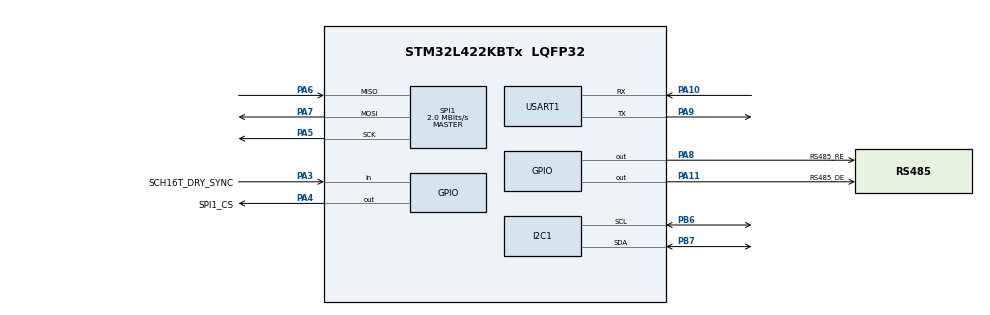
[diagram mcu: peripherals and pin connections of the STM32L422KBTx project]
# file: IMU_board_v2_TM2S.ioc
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I2C1.Timing=0x00100D14
Mcu.Family=STM32L4
Mcu.Name=STM32L422KBTx
Mcu.Package=LQFP32
NVIC.PriorityGroup=NVIC_PRIORITYGROUP_4
PA0-CK_IN.Signal=RCC_CK_IN
PA10.Mode=Asynchronous
PA10.Signal=USART1_RX
PA11.GPIO_Label=RS485_DE
PA11.Signal=GPIO_Output
PA13\ (JTMS/SWDIO).Mode=Serial_Wire
PA13\ (JTMS/SWDIO).Signal=SYS_JTMS-SWDIO
PA14\ (JTCK/SWCLK).Mode=Serial_Wire
PA14\ (JTCK/SWCLK).Signal=SYS_JTCK-SWCLK
PA3.GPIO_Label=SCH16T_DRY_SYNC
PA3.Signal=GPIO_Input
PA4.GPIO_Label=SPI1_CS
PA4.Signal=GPIO_Output
PA5.Mode=Full_Duplex_Master
PA5.Signal=SPI1_SCK
PA6.Mode=Full_Duplex_Master
PA6.Signal=SPI1_MISO
PA7.Mode=Full_Duplex_Master
PA7.Signal=SPI1_MOSI
PA8.GPIO_Label=RS485_RE
PA8.Signal=GPIO_Output
PA9.Mode=Asynchronous
PA9.Signal=USART1_TX
PB6.Mode=I2C
PB6.Signal=I2C1_SCL
PB7.Mode=I2C
PB7.Signal=I2C1_SDA
ProjectManager.HeapSize=0x200
ProjectManager.StackSize=0x400
ProjectManager.TargetToolchain=STM32CubeIDE
RCC.ADCFreq_Value=4000000
RCC.HSE_VALUE=8000000
RCC.HSI48_VALUE=48000000
RCC.HSI_VALUE=16000000
RCC.LSE_VALUE=32768
RCC.MSI_VALUE=4000000
RCC.USBFreq_Value=4000000
RCC.VCOOutputFreq_Value=32000000
SPI1.CLKPolarity=SPI_POLARITY_LOW
SPI1.CalculateBaudRate=2.0 MBits/s
SPI1.DataSize=SPI_DATASIZE_16BIT
SPI1.Direction=SPI_DIRECTION_2LINES
SPI1.Mode=SPI_MODE_MASTER
SPI1.VirtualType=VM_MASTER
USART1.SwapParam=ADVFEATURE_SWAP_ENABLE
USART1.VirtualMode-Asynchronous=VM_ASYNC
board=custom

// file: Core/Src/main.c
/* USER CODE BEGIN Header */
/**
  ******************************************************************************
  * @file           : main.c
  * @brief          : Main program body
  ******************************************************************************
  * @attention
  *
  * Copyright (c) 2026 STMicroelectronics.
  * All rights reserved.
  *
  * This software is licensed under terms that can be found in the LICENSE file
  * in the root directory of this software component.
  * If no LICENSE file comes with this software, it is provided AS-IS.
  *
  ******************************************************************************
  */
/* USER CODE END Header */
#include "main.h"

/* USER CODE BEGIN Includes */
#include <stdio.h>
#include <string.h>
/* USER CODE END Includes */

/* USER CODE BEGIN PD */

// RS-485 Protocol Constants
#define ADCS_BUS_START_BYTE        0xAA
#define IMUCUBE_MODULE_ID          0x04
#define ADCS_BUS_BROADCAST_ID      0xFF

// Commands (receive from ADCS master)
#define CMD_PING                   0x01
#define CMD_GET_STATUS             0x02
#define CMD_GET_TELEMETRY          0x03
#define CMD_RESET                  0x04

// Responses (send to ADCS master)
#define TLM_ACK                    0x80
#define TLM_NACK                   0x81
#define TLM_IMUCUBE_ALL_SENSORS    0x90
#define TLM_IMUCUBE_STATUS         0x91

/* USER CODE END PD */

I2C_HandleTypeDef hi2c1;

SPI_HandleTypeDef hspi1;

UART_HandleTypeDef huart1;

/* USER CODE BEGIN PV */
// I2C pin check
volatile uint8_t scl_state = 0;
volatile uint8_t sda_state = 0;

// I2C scan variables
volatile uint8_t device_count = 0;
volatile uint8_t found_addr[10];
volatile HAL_StatusTypeDef result;

// RM3100 BIST variables
#define RM3100_ADDR    (0x20 << 1)  // 7-bit addr 0x20, shifted for HAL
#define RM3100_BIST    0x33         // BIST register
#define RM3100_POLL    0x00         // POLL register
#define RM3100_MX      0x24         // Measurement X (3 bytes: 0x24, 0x25, 0x26)
volatile uint8_t rm3100_bist_result = 0;
volatile uint8_t rm3100_bist_pass   = 0;  // 1 = PASS, 0 = FAIL

// RM3100 measurement data
volatile uint8_t rm3100_raw[9];            // 9 bytes: X(3) + Y(3) + Z(3)
volatile int32_t rm3100_x = 0;
volatile int32_t rm3100_y = 0;
volatile int32_t rm3100_z = 0;

// IIS2MDC variables
#define IIS2MDC_ADDR     (0x1E << 1)
#define IIS2MDC_WHO_AM_I 0x4F
#define IIS2MDC_CFG_A    0x60
#define IIS2MDC_CFG_C    0x62
#define IIS2MDC_STATUS   0x67
#define IIS2MDC_OUT_X_L  0x68
volatile uint8_t iis2mdc_who = 0;
volatile uint8_t iis2mdc_status = 0;
volatile uint8_t iis2mdc_ok = 0;
volatile uint8_t iis2mdc_raw[6];
volatile int16_t iis2mdc_x = 0;
volatile int16_t iis2mdc_y = 0;
volatile int16_t iis2mdc_z = 0;

// ICM-45686 variables
#define ICM45686_ADDR       (0x68 << 1)
#define ICM45686_WHOAMI     0x72
#define ICM45686_PWR_MGMT0  0x1F
#define ICM45686_INT_STATUS 0x2D
#define ICM45686_STATUS     0x39
#define ICM45686_ACCEL_X1   0x00
#define ICM45686_GYRO_X1    0x06
volatile uint8_t icm_who_72 = 0;     // WHO_AM_I read from 0x72
volatile uint8_t icm_who_75 = 0;     // WHO_AM_I read from 0x75
volatile uint8_t icm_ok = 0;
volatile uint8_t icm_int_status = 0;
volatile uint8_t icm_status = 0;
volatile uint8_t icm_pwr_readback = 0;
volatile uint8_t icm_accel_raw[6];
volatile uint8_t icm_gyro_raw[6];
volatile int16_t icm_ax = 0, icm_ay = 0, icm_az = 0;
volatile int16_t icm_gx = 0, icm_gy = 0, icm_gz = 0;
volatile uint8_t icm_dump[128];  // dump registers 0x00–0x7F to find data

// I3G4250D variables
#define I3G4250D_ADDR     (0x69 << 1)  // SDO = VDD
#define I3G4250D_WHO_AM_I 0x0F
#define I3G4250D_CTRL1    0x20
#define I3G4250D_STATUS   0x27
#define I3G4250D_OUT_X_L  0x28
volatile uint8_t i3g_who_0F = 0;   // WHO_AM_I at 0x0F (ST sensors)
volatile uint8_t i3g_who_72 = 0;   // WHO_AM_I at 0x72 (InvenSense)
volatile uint8_t i3g_who_75 = 0;   // WHO_AM_I at 0x75 (InvenSense)
volatile uint8_t i3g_ok = 0;
volatile uint8_t i3g_status = 0;
volatile uint8_t i3g_raw[6];
volatile int16_t i3g_x = 0, i3g_y = 0, i3g_z = 0;

// MCP9808 variables
#define MCP9808_ADDR      (0x1F << 1)
#define MCP9808_MANUF_ID  0x06    // Manufacturer ID register (expect 0x0054)
#define MCP9808_DEVICE_ID 0x07    // Device ID register (expect 0x0400)
#define MCP9808_TEMP      0x05    // Ambient temperature register
volatile uint16_t mcp_manuf_id = 0;
volatile uint16_t mcp_device_id = 0;
volatile uint8_t mcp_ok = 0;
volatile uint8_t mcp_raw[2];
volatile float mcp_temp = 0.0f;    // temperature in °C

// SCH16T SPI variables
volatile uint16_t spi_tx[2];
volatile uint16_t spi_rx[2];
volatile uint8_t  sch16t_detected = 0;
volatile HAL_StatusTypeDef spi_result;
volatile uint16_t spi_test_rx0 = 0;
volatile uint16_t spi_test_rx1 = 0;
volatile uint32_t spi_resp_cmd = 0;
volatile uint32_t spi_resp_zeros = 0;
volatile uint32_t spi_resp_ones = 0;
volatile int32_t sch_gx = 0, sch_gy = 0, sch_gz = 0;
volatile int32_t sch_ax = 0, sch_ay = 0, sch_az = 0;
volatile uint32_t sch_frame_built = 0;   // what build_frame generates
volatile uint32_t sch_raw_resp = 0;      // raw response

// RS-485 transmit buffer
char tx_buf[256];

// RS-485 mode flag: 0 = protocol mode (rx/tx), 1 = continuous TX mode
volatile uint8_t rs485_mode = 0;  // change to 1 for continuous TX

// Protocol structs (packed, no padding)
typedef struct __attribute__((packed)) {
  float rm3100_x, rm3100_y, rm3100_z;           // 12 bytes
  float iis2mdc_x, iis2mdc_y, iis2mdc_z;        // 12 bytes
  float icm_accel_x, icm_accel_y, icm_accel_z;   // 12 bytes
  float icm_gyro_x, icm_gyro_y, icm_gyro_z;      // 12 bytes
  float sch16t_accel_x, sch16t_accel_y, sch16t_accel_z; // 12 bytes
  float sch16t_gyro_x, sch16t_gyro_y, sch16t_gyro_z;   // 12 bytes
  float i3g_gyro_x, i3g_gyro_y, i3g_gyro_z;     // 12 bytes
  float mcp_temp_val;                             // 4 bytes
} IMUCube_AllSensorsPayload_t;  // 88 bytes total

_Static_assert(sizeof(IMUCube_AllSensorsPayload_t) == 88, "payload must be 88 bytes");

typedef struct __attribute__((packed)) {
  uint8_t ack_type;
  uint8_t original_cmd;
  uint8_t status_code;
  uint8_t reserved;
} AckResponse_t;  // 4 bytes

// RS-485 RX/TX buffers
uint8_t rs485_rx_buf[140];   // max frame = 134 bytes
uint8_t rs485_tx_frame[140];
volatile uint8_t rs485_rx_byte = 0;
volatile uint8_t rs485_rx_idx = 0;
volatile uint8_t rs485_cmd_ready = 0;
volatile uint8_t rs485_msg_type = 0;
volatile uint8_t rs485_payload_len = 0;
/* USER CODE END PV */

void SystemClock_Config(void);
static void MX_GPIO_Init(void);
static void MX_I2C1_Init(void);
static void MX_SPI1_Init(void);
static void MX_USART1_UART_Init(void);

/* USER CODE BEGIN 0 */

uint8_t calc_crc3(uint32_t frame)
{
  uint8_t crc = 0x05;
  for (int i = 31; i >= 3; i--)
  {
    uint8_t bit = (frame >> i) & 0x01;
    crc = (crc << 1) | bit;
    if (crc & 0x08) crc ^= 0x0B;
  }
  return crc & 0x07;
}

uint32_t sch16t_build_frame(uint16_t address, uint8_t rw, uint32_t data)
{
  uint32_t frame = 0;
  frame |= ((uint32_t)(address & 0x03FF)) << 22;
  frame |= ((uint32_t)(rw & 0x01)) << 21;
  frame |= ((data & 0x3FFFF)) << 3;
  frame |= calc_crc3(frame);
  return frame;
}

uint32_t sch16t_transfer(uint32_t frame)
{
  uint16_t tx[2], rx[2];
  tx[0] = (uint16_t)(frame >> 16);
  tx[1] = (uint16_t)(frame & 0xFFFF);

  HAL_GPIO_WritePin(SPI1_CS_GPIO_Port, SPI1_CS_Pin, GPIO_PIN_RESET);
  HAL_SPI_TransmitReceive(&hspi1, (uint8_t *)tx, (uint8_t *)rx, 2, 100);
  HAL_GPIO_WritePin(SPI1_CS_GPIO_Port, SPI1_CS_Pin, GPIO_PIN_SET);
  HAL_Delay(1);

  return ((uint32_t)rx[0] << 16) | rx[1];
}

// Send data via RS-485 (DE kept HIGH permanently)
volatile HAL_StatusTypeDef uart_result;

// CRC16-CCITT (matches ADCS master implementation exactly)
uint16_t crc16_ccitt(const uint8_t *data, uint16_t len)
{
  uint16_t crc = 0xFFFF;
  for (uint16_t i = 0; i < len; i++)
  {
    crc ^= (uint16_t)data[i] << 8;
    for (uint8_t b = 0; b < 8; b++)
    {
      if (crc & 0x8000) crc = (crc << 1) ^ 0x1021;
      else              crc <<= 1;
    }
  }
  return crc;
}

// Send raw bytes via RS-485 (low level)
void RS485_RawSend(uint8_t *data, uint16_t len)
{
  // DE HIGH, RE HIGH → transmit mode
  HAL_GPIO_WritePin(RS485_DE_GPIO_Port, RS485_DE_Pin, GPIO_PIN_SET);
  HAL_GPIO_WritePin(RS485_RE_GPIO_Port, RS485_RE_Pin, GPIO_PIN_SET);
  HAL_Delay(1);  // let transceiver settle

  // Send data
  uart_result = HAL_UART_Transmit(&huart1, data, len, 1000);

  // Wait for last byte to fully leave the shift register
  while (__HAL_UART_GET_FLAG(&huart1, UART_FLAG_TC) == RESET);
  HAL_Delay(1);

  // DE LOW, RE LOW → back to listen mode
  HAL_GPIO_WritePin(RS485_DE_GPIO_Port, RS485_DE_Pin, GPIO_PIN_RESET);
  HAL_GPIO_WritePin(RS485_RE_GPIO_Port, RS485_RE_Pin, GPIO_PIN_RESET);
}

// Send reply frame via RS-485.
// ADCS compatibility: emits a fixed 136-byte frame matching the ADCS_Packet_t
// struct layout (4 header + 128 payload region + 2 CRC at offset 132 +
// 2 reserved padding), with CRC stored little-endian. This deviates from the
// documented protocol spec but is required for the current ADCS firmware
// which receives with sizeof(ADCS_Packet_t). See IMUCube_side_implementation.md §13.
void RS485_SendFrame(uint8_t msg_type, uint8_t *payload, uint8_t payload_len)
{
  // Zero the full 136 bytes first so the payload padding region and the
  // reserved tail (bytes 134-135) don't leak stale data onto the bus.
  memset(rs485_tx_frame, 0, 136);

  // Build frame header
  rs485_tx_frame[0] = ADCS_BUS_START_BYTE;  // 0xAA
  rs485_tx_frame[1] = IMUCUBE_MODULE_ID;     // 0x04
  rs485_tx_frame[2] = msg_type;
  rs485_tx_frame[3] = payload_len;

  // Live payload goes into the fixed 128-byte payload region (offset 4..131).
  if (payload_len > 0)
    memcpy(&rs485_tx_frame[4], payload, payload_len);

  // Calculate CRC over header + live payload bytes only — the rest of the
  // 128-byte payload region is padding and is NOT covered (matches ADCS).
  uint16_t crc = crc16_ccitt(rs485_tx_frame, 4 + payload_len);

  // CRC16 at fixed offset 132, little-endian byte order (matches how ADCS
  // serializes its uint16_t crc16 struct field on little-endian ARM).
  rs485_tx_frame[132] = crc & 0xFF;          // LSB first
  rs485_tx_frame[133] = (crc >> 8) & 0xFF;   // MSB second
  // rs485_tx_frame[134..135] already zeroed by memset (reserved padding).

  // Always send the full 136-byte frame.
  RS485_RawSend(rs485_tx_frame, 136);
}

// Handle PING command → reply ACK
void Handle_Ping(void)
{
  AckResponse_t ack;
  ack.ack_type = TLM_ACK;
  ack.original_cmd = CMD_PING;
  ack.status_code = 0x00;
  ack.reserved = 0x00;

  RS485_SendFrame(TLM_ACK, (uint8_t *)&ack, sizeof(ack));
}

// Handle GET_TELEMETRY → reply with all sensor data
void Handle_GetTelemetry(void)
{
  IMUCube_AllSensorsPayload_t tlm;

  // Pack current sensor values into the struct
  tlm.rm3100_x = (float)rm3100_x;
  tlm.rm3100_y = (float)rm3100_y;
  tlm.rm3100_z = (float)rm3100_z;

  tlm.iis2mdc_x = (float)iis2mdc_x;
  tlm.iis2mdc_y = (float)iis2mdc_y;
  tlm.iis2mdc_z = (float)iis2mdc_z;

  tlm.icm_accel_x = (float)icm_ax;
  tlm.icm_accel_y = (float)icm_ay;
  tlm.icm_accel_z = (float)icm_az;
  tlm.icm_gyro_x = (float)icm_gx;
  tlm.icm_gyro_y = (float)icm_gy;
  tlm.icm_gyro_z = (float)icm_gz;

  tlm.sch16t_accel_x = (float)sch_ax;
  tlm.sch16t_accel_y = (float)sch_ay;
  tlm.sch16t_accel_z = (float)sch_az;
  tlm.sch16t_gyro_x = (float)sch_gx;
  tlm.sch16t_gyro_y = (float)sch_gy;
  tlm.sch16t_gyro_z = (float)sch_gz;

  tlm.i3g_gyro_x = (float)i3g_x;
  tlm.i3g_gyro_y = (float)i3g_y;
  tlm.i3g_gyro_z = (float)i3g_z;

  tlm.mcp_temp_val = mcp_temp;

  RS485_SendFrame(TLM_IMUCUBE_ALL_SENSORS, (uint8_t *)&tlm, sizeof(tlm));
}

// Parse received RS-485 frame and dispatch command
void RS485_ProcessFrame(void)
{
  // ADCS compatibility: fixed 136-byte wire frame. See §13 in
  // IMUCube_side_implementation.md for the rationale behind this shim.
  if (rs485_rx_idx < 136) return;

  // Extract CRC16 from fixed offset 132-133, little-endian byte order.
  // Reason: ADCS stores the CRC in a `uint16_t crc16` struct field at
  // offsetof(ADCS_Packet_t, crc16) == 132, then transmits the raw struct
  // via HAL_UART_Transmit — on little-endian ARM that serializes as
  // [LSB][MSB], NOT the big-endian order the spec calls for.
  uint16_t received_crc = (uint16_t)rs485_rx_buf[132]
                       | ((uint16_t)rs485_rx_buf[133] << 8);

  // CRC input remains just the header + live payload bytes (the rest of
  // the 128-byte payload region is padding that ADCS doesn't cover either).
  uint16_t calc_crc = crc16_ccitt(rs485_rx_buf, 4 + rs485_payload_len);

  if (received_crc != calc_crc) return;  // bad CRC, drop silently

  // Check module ID
  uint8_t mod_id = rs485_rx_buf[1];
  if (mod_id != IMUCUBE_MODULE_ID && mod_id != ADCS_BUS_BROADCAST_ID) return;

  // Dispatch command
  uint8_t cmd = rs485_rx_buf[2];
  uint8_t is_broadcast = (mod_id == ADCS_BUS_BROADCAST_ID);

  switch (cmd)
  {
    case CMD_PING:
      if (!is_broadcast) Handle_Ping();
      break;

    case CMD_GET_TELEMETRY:
      if (!is_broadcast) Handle_GetTelemetry();
      break;

    case CMD_RESET:
      if (!is_broadcast)
      {
        // Send ACK first
        AckResponse_t ack = { TLM_ACK, CMD_RESET, 0x00, 0x00 };
        RS485_SendFrame(TLM_ACK, (uint8_t *)&ack, sizeof(ack));
        HAL_Delay(10);
        NVIC_SystemReset();
      }
      break;

    default:
    {
      // Unknown command → NACK
      if (!is_broadcast)
      {
        AckResponse_t nack = { TLM_NACK, cmd, 0xFF, 0x00 };
        RS485_SendFrame(TLM_NACK, (uint8_t *)&nack, sizeof(nack));
      }
      break;
    }
  }
}

/* USER CODE END 0 */

int main(void)
{

  /* MCU Configuration--------------------------------------------------------*/

  /* Reset of all peripherals, Initializes the Flash interface and the Systick. */
  HAL_Init();

  /* Configure the system clock */
  SystemClock_Config();

  /* Initialize all configured peripherals */
  MX_GPIO_Init();
  MX_I2C1_Init();
  MX_SPI1_Init();
  MX_USART1_UART_Init();
  /* USER CODE BEGIN 2 */

  uint8_t bist_cmd;
  uint8_t poll_cmd;

  // RS-485: set initial direction based on mode
  if (rs485_mode == 1)
  {
    // Mode 1: continuous TX — DE HIGH, RE HIGH (transmit)
    HAL_GPIO_WritePin(RS485_DE_GPIO_Port, RS485_DE_Pin, GPIO_PIN_SET);
    HAL_GPIO_WritePin(RS485_RE_GPIO_Port, RS485_RE_Pin, GPIO_PIN_SET);
  }
  else
  {
    // Mode 0: protocol — DE LOW, RE LOW (receive/listen)
    HAL_GPIO_WritePin(RS485_DE_GPIO_Port, RS485_DE_Pin, GPIO_PIN_RESET);
    HAL_GPIO_WritePin(RS485_RE_GPIO_Port, RS485_RE_Pin, GPIO_PIN_RESET);
  }
  HAL_Delay(10);

  // Startup test: send 0xAA
  uint8_t startup_test = 0xAA;
  HAL_GPIO_WritePin(RS485_DE_GPIO_Port, RS485_DE_Pin, GPIO_PIN_SET);
  HAL_GPIO_WritePin(RS485_RE_GPIO_Port, RS485_RE_Pin, GPIO_PIN_SET);
  uart_result = HAL_UART_Transmit(&huart1, &startup_test, 1, 1000);
  while (__HAL_UART_GET_FLAG(&huart1, UART_FLAG_TC) == RESET);
  // Back to receive mode if protocol mode
  if (rs485_mode == 0)
  {
    HAL_GPIO_WritePin(RS485_DE_GPIO_Port, RS485_DE_Pin, GPIO_PIN_RESET);
    HAL_GPIO_WritePin(RS485_RE_GPIO_Port, RS485_RE_Pin, GPIO_PIN_RESET);
  }

  /* ---- RM3100 BIST ---- */
  bist_cmd = 0x8F;
  poll_cmd = 0x70;
  HAL_I2C_Mem_Write(&hi2c1, RM3100_ADDR, RM3100_BIST, I2C_MEMADD_SIZE_8BIT, &bist_cmd, 1, 50);
  HAL_I2C_Mem_Write(&hi2c1, RM3100_ADDR, RM3100_POLL, I2C_MEMADD_SIZE_8BIT, &poll_cmd, 1, 50);
  HAL_Delay(200);
  HAL_I2C_Mem_Read(&hi2c1, RM3100_ADDR, RM3100_BIST, I2C_MEMADD_SIZE_8BIT, (uint8_t *)&rm3100_bist_result, 1, 50);
  rm3100_bist_pass = ((rm3100_bist_result & 0x70) == 0x70) ? 1 : 0;
  bist_cmd = 0x00;
  HAL_I2C_Mem_Write(&hi2c1, RM3100_ADDR, RM3100_BIST, I2C_MEMADD_SIZE_8BIT, &bist_cmd, 1, 50);
  HAL_Delay(10);

  /* ---- IIS2MDC init ---- */
  HAL_I2C_Mem_Read(&hi2c1, IIS2MDC_ADDR, IIS2MDC_WHO_AM_I, I2C_MEMADD_SIZE_8BIT, (uint8_t *)&iis2mdc_who, 1, 50);
  if (iis2mdc_who == 0x40)
  {
    iis2mdc_ok = 1;
    uint8_t cfg_c = 0x10;
    HAL_I2C_Mem_Write(&hi2c1, IIS2MDC_ADDR, IIS2MDC_CFG_C, I2C_MEMADD_SIZE_8BIT, &cfg_c, 1, 50);
  }

  /* ---- ICM-45686 init ---- */
  HAL_I2C_Mem_Read(&hi2c1, ICM45686_ADDR, 0x72, I2C_MEMADD_SIZE_8BIT, (uint8_t *)&icm_who_72, 1, 50);
  if (icm_who_72 == 0xE9 || icm_who_72 == 0xE5)
  {
    icm_ok = 1;
    uint8_t accel_cfg = 0x09;
    HAL_I2C_Mem_Write(&hi2c1, ICM45686_ADDR, 0x1B, I2C_MEMADD_SIZE_8BIT, &accel_cfg, 1, 50);
    uint8_t gyro_cfg = 0x09;
    HAL_I2C_Mem_Write(&hi2c1, ICM45686_ADDR, 0x1C, I2C_MEMADD_SIZE_8BIT, &gyro_cfg, 1, 50);
    uint8_t pwr = 0x0F;
    HAL_I2C_Mem_Write(&hi2c1, ICM45686_ADDR, 0x10, I2C_MEMADD_SIZE_8BIT, &pwr, 1, 50);
    HAL_Delay(300);
  }

  /* ---- I3G4250D init ---- */
  HAL_I2C_Mem_Read(&hi2c1, I3G4250D_ADDR, 0x0F, I2C_MEMADD_SIZE_8BIT, (uint8_t *)&i3g_who_0F, 1, 50);
  if (i3g_who_0F == 0xD3)
  {
    i3g_ok = 1;
    uint8_t ctrl1 = 0x0F;
    HAL_I2C_Mem_Write(&hi2c1, I3G4250D_ADDR, I3G4250D_CTRL1, I2C_MEMADD_SIZE_8BIT, &ctrl1, 1, 50);
    HAL_Delay(50);
  }

  /* ---- MCP9808 init ---- */
  HAL_I2C_Mem_Read(&hi2c1, MCP9808_ADDR, MCP9808_MANUF_ID, I2C_MEMADD_SIZE_8BIT, (uint8_t *)mcp_raw, 2, 50);
  mcp_manuf_id = (uint16_t)(mcp_raw[0] << 8 | mcp_raw[1]);
  if (mcp_manuf_id == 0x0054) mcp_ok = 1;

  /* ---- SCH16T: Full Startup (ALL exact datasheet frames) ---- */

  // Step 1: CS HIGH
  HAL_GPIO_WritePin(SPI1_CS_GPIO_Port, SPI1_CS_Pin, GPIO_PIN_SET);

  // Step 2-3: Wait for power + NVM read
  HAL_Delay(50);

  // Step 6: EN_SENSOR=1
  sch16t_transfer(0x0D60000A);

  // Step 7: Wait 215ms
  HAL_Delay(215);

  // Step 8: Read ALL status registers once (exact frames with correct CRC)
  sch16t_transfer(0x05000007);  // STAT_SUM
  sch16t_transfer(0x05400005);  // STAT_SUM_SAT
  sch16t_transfer(0x05800003);  // STAT_COM
  sch16t_transfer(0x05C00001);  // STAT_RATE_COM
  sch16t_transfer(0x06000002);  // STAT_RATE_X
  sch16t_transfer(0x06400000);  // STAT_RATE_Y
  sch16t_transfer(0x06800006);  // STAT_RATE_Z
  sch16t_transfer(0x06C00004);  // STAT_ACC_X
  sch16t_transfer(0x07000001);  // STAT_ACC_Y
  sch16t_transfer(0x07400003);  // STAT_ACC_Z
  sch16t_transfer(0x00000000);  // dummy flush

  // Step 9: EOI=1
  sch16t_transfer(0x0D60001C);

  // Step 10: Wait 3ms
  HAL_Delay(3);

  // Step 11: Read status registers twice
  for (int pass = 0; pass < 2; pass++)
  {
    sch16t_transfer(0x05000007);
    sch16t_transfer(0x05400005);
    sch16t_transfer(0x05800003);
    sch16t_transfer(0x05C00001);
    sch16t_transfer(0x06000002);
    sch16t_transfer(0x06400000);
    sch16t_transfer(0x06800006);
    sch16t_transfer(0x06C00004);
    sch16t_transfer(0x07000001);
    sch16t_transfer(0x07400003);
    sch16t_transfer(0x00000000);
  }

  HAL_Delay(10);

  /* USER CODE END 2 */

  /* Infinite loop */
  /* USER CODE BEGIN WHILE */
  while (1)
  {
    if (rs485_mode == 1)
    {
      /* MODE 1: Continuous TX — send 0xAA pattern back-to-back */
      static uint8_t aa_buf[32];
      static uint8_t aa_buf_init = 0;
      if (!aa_buf_init)
      {
        memset(aa_buf, 0xAA, sizeof(aa_buf));
        HAL_GPIO_WritePin(RS485_DE_GPIO_Port, RS485_DE_Pin, GPIO_PIN_SET);
        HAL_GPIO_WritePin(RS485_RE_GPIO_Port, RS485_RE_Pin, GPIO_PIN_SET);
        aa_buf_init = 1;
      }
      uart_result = HAL_UART_Transmit(&huart1, aa_buf, sizeof(aa_buf), 1000);
      /* No delay — loop immediately to keep the line saturated */
      continue;
    }

    /* ---- RS-485 Protocol Mode ---- */
    /* MODE 0: wait for command → read sensors → respond */

    // Clear any UART error flags (overrun, framing, noise)
    __HAL_UART_CLEAR_FLAG(&huart1, UART_CLEAR_OREF | UART_CLEAR_FEF | UART_CLEAR_NEF);
    if (huart1.RxState != HAL_UART_STATE_READY)
      huart1.RxState = HAL_UART_STATE_READY;

    // Block here waiting for start byte (1s timeout — MCU is idle until master asks)
    uart_result = HAL_UART_Receive(&huart1, (uint8_t *)&rs485_rx_byte, 1, 1000);

    if (uart_result == HAL_OK && rs485_rx_byte == ADCS_BUS_START_BYTE)
    {
      // Got start byte — collect rest of frame
      rs485_rx_buf[0] = ADCS_BUS_START_BYTE;
      rs485_rx_idx = 1;

      // Read 3 more header bytes
      uart_result = HAL_UART_Receive(&huart1, &rs485_rx_buf[1], 3, 50);
      if (uart_result == HAL_OK)
      {
        rs485_rx_idx = 4;
        rs485_payload_len = rs485_rx_buf[3];

        if (rs485_payload_len <= 128)
        {
          // ADCS compatibility shim: ADCS transmits a fixed 136-byte ADCS_Packet_t
          // struct regardless of payload_length (4 header + 128 payload region +
          // 2 CRC at offset 132 + 2 reserved padding). Drain all 132 trailing
          // bytes so the UART RX FIFO stays aligned. See
          // IMUCube_side_implementation.md §13 for the full rationale.
          uint8_t remaining = 132;
          uart_result = HAL_UART_Receive(&huart1, &rs485_rx_buf[4], remaining, 100);
          if (uart_result == HAL_OK)
          {
            rs485_rx_idx = 4 + remaining;

            /* ---- Read ALL sensors NOW, before responding ---- */

            /* ---- SCH16T (SPI) ---- */
            sch16t_transfer(0x00400001);
            sch_raw_resp = sch16t_transfer(0x00800007);
            sch_gx = (int16_t)((sch_raw_resp >> 4) & 0xFFFF);
            spi_resp_zeros = sch16t_transfer(0x00C00005);
            sch_gy = (int16_t)((spi_resp_zeros >> 4) & 0xFFFF);
            spi_resp_ones = sch16t_transfer(0x01000000);
            sch_gz = (int16_t)((spi_resp_ones >> 4) & 0xFFFF);
            uint32_t r4 = sch16t_transfer(0x01400002);
            sch_ax = (int16_t)((r4 >> 4) & 0xFFFF);
            uint32_t r5 = sch16t_transfer(0x01800004);
            sch_ay = (int16_t)((r5 >> 4) & 0xFFFF);
            uint32_t r6 = sch16t_transfer(0x00000000);
            sch_az = (int16_t)((r6 >> 4) & 0xFFFF);

            /* ---- RM3100 (I2C) — bypass on error ---- */
            poll_cmd = 0x70;
            if (HAL_I2C_Mem_Write(&hi2c1, RM3100_ADDR, RM3100_POLL, I2C_MEMADD_SIZE_8BIT, &poll_cmd, 1, 50) == HAL_OK)
            {
              HAL_Delay(200);
              if (HAL_I2C_Mem_Read(&hi2c1, RM3100_ADDR, RM3100_MX, I2C_MEMADD_SIZE_8BIT, (uint8_t *)rm3100_raw, 9, 50) == HAL_OK)
              {
                rm3100_x = (int32_t)((rm3100_raw[0] << 16) | (rm3100_raw[1] << 8) | rm3100_raw[2]);
                if (rm3100_x & 0x800000) rm3100_x |= 0xFF000000;
                rm3100_y = (int32_t)((rm3100_raw[3] << 16) | (rm3100_raw[4] << 8) | rm3100_raw[5]);
                if (rm3100_y & 0x800000) rm3100_y |= 0xFF000000;
                rm3100_z = (int32_t)((rm3100_raw[6] << 16) | (rm3100_raw[7] << 8) | rm3100_raw[8]);
                if (rm3100_z & 0x800000) rm3100_z |= 0xFF000000;
              }
            }

            /* ---- IIS2MDC (I2C) — bypass on error ---- */
            if (iis2mdc_ok)
            {
              uint8_t cfg_a = 0x01;
              if (HAL_I2C_Mem_Write(&hi2c1, IIS2MDC_ADDR, IIS2MDC_CFG_A, I2C_MEMADD_SIZE_8BIT, &cfg_a, 1, 50) == HAL_OK)
              {
                HAL_Delay(20);
                if (HAL_I2C_Mem_Read(&hi2c1, IIS2MDC_ADDR, IIS2MDC_OUT_X_L, I2C_MEMADD_SIZE_8BIT, (uint8_t *)iis2mdc_raw, 6, 50) == HAL_OK)
                {
                  iis2mdc_x = (int16_t)(iis2mdc_raw[1] << 8 | iis2mdc_raw[0]);
                  iis2mdc_y = (int16_t)(iis2mdc_raw[3] << 8 | iis2mdc_raw[2]);
                  iis2mdc_z = (int16_t)(iis2mdc_raw[5] << 8 | iis2mdc_raw[4]);
                }
              }
            }

            /* ---- ICM-45686 (I2C) — bypass on error ---- */
            if (icm_ok)
            {
              if (HAL_I2C_Mem_Read(&hi2c1, ICM45686_ADDR, 0x00, I2C_MEMADD_SIZE_8BIT, (uint8_t *)icm_accel_raw, 6, 50) == HAL_OK)
              {
                icm_ax = (int16_t)(icm_accel_raw[0] << 8 | icm_accel_raw[1]);
                icm_ay = (int16_t)(icm_accel_raw[2] << 8 | icm_accel_raw[3]);
                icm_az = (int16_t)(icm_accel_raw[4] << 8 | icm_accel_raw[5]);
              }
              if (HAL_I2C_Mem_Read(&hi2c1, ICM45686_ADDR, 0x06, I2C_MEMADD_SIZE_8BIT, (uint8_t *)icm_gyro_raw, 6, 50) == HAL_OK)
              {
                icm_gx = (int16_t)(icm_gyro_raw[0] << 8 | icm_gyro_raw[1]);
                icm_gy = (int16_t)(icm_gyro_raw[2] << 8 | icm_gyro_raw[3]);
                icm_gz = (int16_t)(icm_gyro_raw[4] << 8 | icm_gyro_raw[5]);
              }
            }

            /* ---- I3G4250D (I2C) — bypass on error ---- */
            if (i3g_ok)
            {
              if (HAL_I2C_Mem_Read(&hi2c1, I3G4250D_ADDR, 0xA8, I2C_MEMADD_SIZE_8BIT, (uint8_t *)i3g_raw, 6, 50) == HAL_OK)
              {
                i3g_x = (int16_t)(i3g_raw[1] << 8 | i3g_raw[0]);
                i3g_y = (int16_t)(i3g_raw[3] << 8 | i3g_raw[2]);
                i3g_z = (int16_t)(i3g_raw[5] << 8 | i3g_raw[4]);
              }
            }

            /* ---- MCP9808 (I2C) — bypass on error ---- */
            if (mcp_ok)
            {
              if (HAL_I2C_Mem_Read(&hi2c1, MCP9808_ADDR, MCP9808_TEMP, I2C_MEMADD_SIZE_8BIT, (uint8_t *)mcp_raw, 2, 50) == HAL_OK)
              {
                mcp_raw[0] = mcp_raw[0] & 0x1F;
                if (mcp_raw[0] & 0x10)
                {
                  mcp_raw[0] = mcp_raw[0] & 0x0F;
                  mcp_temp = 256.0f - ((float)(mcp_raw[0] << 4) + (float)(mcp_raw[1] / 16.0f));
                }
                else
                {
                  mcp_temp = ((float)(mcp_raw[0] << 4) + (float)(mcp_raw[1] / 16.0f));
                }
              }
            }

            /* ---- Sensors done, now process command and respond ---- */
            RS485_ProcessFrame();
          }
        }
      }
      rs485_rx_idx = 0;
    }
    /* USER CODE END WHILE */

  }
}

void SystemClock_Config(void)
{
  RCC_OscInitTypeDef RCC_OscInitStruct = {0};
  RCC_ClkInitTypeDef RCC_ClkInitStruct = {0};

  /** Configure the main internal regulator output voltage
  */
  if (HAL_PWREx_ControlVoltageScaling(PWR_REGULATOR_VOLTAGE_SCALE1) != HAL_OK)
  {
    Error_Handler();
  }

  /** Initializes the RCC Oscillators according to the specified parameters
  * in the RCC_OscInitTypeDef structure.
  */
  RCC_OscInitStruct.OscillatorType = RCC_OSCILLATORTYPE_MSI;
  RCC_OscInitStruct.MSIState = RCC_MSI_ON;
  RCC_OscInitStruct.MSICalibrationValue = 0;
  RCC_OscInitStruct.MSIClockRange = RCC_MSIRANGE_6;
  RCC_OscInitStruct.PLL.PLLState = RCC_PLL_NONE;
  if (HAL_RCC_OscConfig(&RCC_OscInitStruct) != HAL_OK)
  {
    Error_Handler();
  }

  /** Initializes the CPU, AHB and APB buses clocks
  */
  RCC_ClkInitStruct.ClockType = RCC_CLOCKTYPE_HCLK|RCC_CLOCKTYPE_SYSCLK
                              |RCC_CLOCKTYPE_PCLK1|RCC_CLOCKTYPE_PCLK2;
  RCC_ClkInitStruct.SYSCLKSource = RCC_SYSCLKSOURCE_MSI;
  RCC_ClkInitStruct.AHBCLKDivider = RCC_SYSCLK_DIV1;
  RCC_ClkInitStruct.APB1CLKDivider = RCC_HCLK_DIV1;
  RCC_ClkInitStruct.APB2CLKDivider = RCC_HCLK_DIV1;

  if (HAL_RCC_ClockConfig(&RCC_ClkInitStruct, FLASH_LATENCY_0) != HAL_OK)
  {
    Error_Handler();
  }
}

static void MX_I2C1_Init(void)
{

  hi2c1.Instance = I2C1;
  hi2c1.Init.Timing = 0x00100D14;
  hi2c1.Init.OwnAddress1 = 0;
  hi2c1.Init.AddressingMode = I2C_ADDRESSINGMODE_7BIT;
  hi2c1.Init.DualAddressMode = I2C_DUALADDRESS_DISABLE;
  hi2c1.Init.OwnAddress2 = 0;
  hi2c1.Init.OwnAddress2Masks = I2C_OA2_NOMASK;
  hi2c1.Init.GeneralCallMode = I2C_GENERALCALL_DISABLE;
  hi2c1.Init.NoStretchMode = I2C_NOSTRETCH_DISABLE;
  if (HAL_I2C_Init(&hi2c1) != HAL_OK)
  {
    Error_Handler();
  }

  /** Configure Analogue filter
  */
  if (HAL_I2CEx_ConfigAnalogFilter(&hi2c1, I2C_ANALOGFILTER_ENABLE) != HAL_OK)
  {
    Error_Handler();
  }

  /** Configure Digital filter
  */
  if (HAL_I2CEx_ConfigDigitalFilter(&hi2c1, 0) != HAL_OK)
  {
    Error_Handler();
  }

}

static void MX_SPI1_Init(void)
{

  /* SPI1 parameter configuration*/
  hspi1.Instance = SPI1;
  hspi1.Init.Mode = SPI_MODE_MASTER;
  hspi1.Init.Direction = SPI_DIRECTION_2LINES;
  hspi1.Init.DataSize = SPI_DATASIZE_16BIT;
  hspi1.Init.CLKPolarity = SPI_POLARITY_LOW;
  hspi1.Init.CLKPhase = SPI_PHASE_1EDGE;
  hspi1.Init.NSS = SPI_NSS_SOFT;
  hspi1.Init.BaudRatePrescaler = SPI_BAUDRATEPRESCALER_2;
  hspi1.Init.FirstBit = SPI_FIRSTBIT_MSB;
  hspi1.Init.TIMode = SPI_TIMODE_DISABLE;
  hspi1.Init.CRCCalculation = SPI_CRCCALCULATION_DISABLE;
  hspi1.Init.CRCPolynomial = 7;
  hspi1.Init.CRCLength = SPI_CRC_LENGTH_DATASIZE;
  hspi1.Init.NSSPMode = SPI_NSS_PULSE_ENABLE;
  if (HAL_SPI_Init(&hspi1) != HAL_OK)
  {
    Error_Handler();
  }

}

static void MX_USART1_UART_Init(void)
{

  huart1.Instance = USART1;
  huart1.Init.BaudRate = 115200;
  huart1.Init.WordLength = UART_WORDLENGTH_8B;
  huart1.Init.StopBits = UART_STOPBITS_1;
  huart1.Init.Parity = UART_PARITY_NONE;
  huart1.Init.Mode = UART_MODE_TX_RX;
  huart1.Init.HwFlowCtl = UART_HWCONTROL_NONE;
  huart1.Init.OverSampling = UART_OVERSAMPLING_16;
  huart1.Init.OneBitSampling = UART_ONE_BIT_SAMPLE_DISABLE;
  huart1.AdvancedInit.AdvFeatureInit = UART_ADVFEATURE_SWAP_INIT;
  huart1.AdvancedInit.Swap = UART_ADVFEATURE_SWAP_ENABLE;
  if (HAL_UART_Init(&huart1) != HAL_OK)
  {
    Error_Handler();
  }

}

static void MX_GPIO_Init(void)
{
  GPIO_InitTypeDef GPIO_InitStruct = {0};

  /* GPIO Ports Clock Enable */
  __HAL_RCC_GPIOA_CLK_ENABLE();
  __HAL_RCC_GPIOB_CLK_ENABLE();

  /*Configure GPIO pin Output Level */
  HAL_GPIO_WritePin(GPIOA, SPI1_CS_Pin|RS485_RE_Pin|RS485_DE_Pin, GPIO_PIN_RESET);

  /*Configure GPIO pin : SCH16T_DRY_SYNC_Pin */
  GPIO_InitStruct.Pin = SCH16T_DRY_SYNC_Pin;
  GPIO_InitStruct.Mode = GPIO_MODE_INPUT;
  GPIO_InitStruct.Pull = GPIO_NOPULL;
  HAL_GPIO_Init(SCH16T_DRY_SYNC_GPIO_Port, &GPIO_InitStruct);

  /*Configure GPIO pins : SPI1_CS_Pin RS485_RE_Pin RS485_DE_Pin */
  GPIO_InitStruct.Pin = SPI1_CS_Pin|RS485_RE_Pin|RS485_DE_Pin;
  GPIO_InitStruct.Mode = GPIO_MODE_OUTPUT_PP;
  GPIO_InitStruct.Pull = GPIO_NOPULL;
  GPIO_InitStruct.Speed = GPIO_SPEED_FREQ_LOW;
  HAL_GPIO_Init(GPIOA, &GPIO_InitStruct);

}

void Error_Handler(void)
{
  __disable_irq();
  while (1)
  {
  }
}
